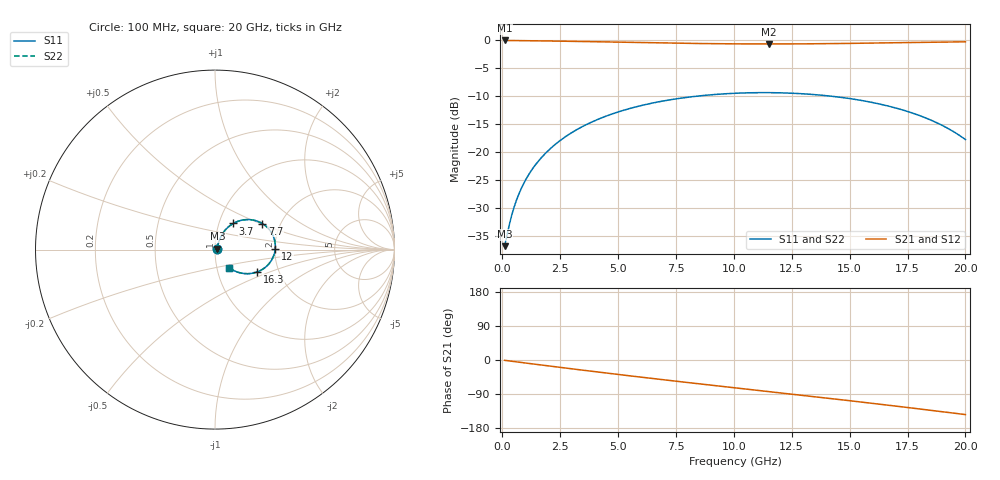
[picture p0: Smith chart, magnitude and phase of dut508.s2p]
! Touchstone file exported from HFSS 2026.1.0
!  File:  C:/ffzhzh/LocalFiles/Ansys_Project_Files/temp_train_TSV_RDL_508_1783108310_37876.aedt
!  Generated:  04:03:06 AM Jul  4, 2026
!  Design:  TSV_RDL
!  Project:  temp_train_TSV_RDL_508_1783108310_37876
! Variables:
!  h_bsmrdl = 4.68um
!  h_ox = 20um
!  h_rdl = 5um
!  h_sub = 85.01um
!  h_tmrdl = 2.06um
!  h_tsv = 85.01um
!  h_via = 3um
!  l_bsmrdl = 185.45um
!  l_sub = 2208.39um
!  l_tmrdl = 282.89um
!  m_sub = 200um
!  pitch = 39.65um
!  r_tsv = 10.62um
!  s_tmrdl = 10um
!  w_bsmrdl = 19.2um
!  w_sub = 500um
!  w_tmrdl = 20.96um
!  x_tsv_center1 = 293.37um
!  x_tsv_center2 = 498.02um
!  x_tsv_center3 = 801.87um
!  x_tsv_center4 = 1006.52um
!  x_tsv_center5 = 1310.37um
!  x_tsv_center6 = 1515.02um
# GHz S MA R 50.000000
! Terminal data exported
! Port[1] = TM_RDL1_1_T1
! Port[2] = TM_RDL5_1_T1
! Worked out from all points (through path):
!   200 points, 100 MHz to 20 GHz, reference 50 ohm
!   highest |S21| = -0.11 dB at 100 MHz (marker M1); lowest = -0.7 dB at 11.5 GHz (marker M2)
!   group delay of S21, straight-line fit = 19.6 ps
!   lowest |S11| = -36.9 dB at 100 MHz (marker M3), VSWR 1.03, Z = 51.3 + j0.587 ohm
!   |S11| at or under -10 dB: start of sweep to 8.577 GHz; 14.02 GHz to end of sweep
!   |S22| runs from -36.9 to -9.4 dB; largest |S21 - S12| = 6.8e-13
!   S11 on the Smith chart (normalised r, x): 100 MHz: 1.03, +0.01; 3.7 GHz: 1.17, +0.35; 7.7 GHz: 1.61, +0.52; 12 GHz: 2.01, +0.02; 16.3 GHz: 1.55, -0.41; 20 GHz: 1.15, -0.24
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0.1  0.01429 23.6  0.987 -0.8  0.987 -0.8  0.01429 23.6
! Gamma 0 0 0 0
! Port Impedance 50 0 50 0
0.4  0.02669 54.3  0.9854 -3.3  0.9854 -3.3  0.02669 54.3
0.6  0.03623 60.5  0.9843 -4.8  0.9843 -4.8  0.03623 60.5
0.9  0.05071 64.3  0.9827 -7.2  0.9827 -7.2  0.05071 64.3
1.2  0.06516 65.5  0.9811 -9.5  0.9811 -9.5  0.06516 65.5
1.7  0.08894 65.1  0.9784 -13.4  0.9784 -13.4  0.08894 65.1
2.2  0.1122 63.3  0.9753 -17.2  0.9753 -17.2  0.1122 63.3
3.5  0.1692 56.3  0.9657 -27.0  0.9657 -27.0  0.1692 56.3
3.7  0.1774 55.1  0.9641 -28.5  0.9641 -28.5  0.1774 55.1
5.1  0.2298 46.1  0.9522 -38.8  0.9522 -38.8  0.2298 46.1
6.8  0.2802 34.8  0.938 -51.0  0.938 -51.0  0.2802 34.8
7.7  0.3007 28.9  0.9315 -57.3  0.9315 -57.3  0.3007 28.9
10.1  0.3331 13.2  0.9201 -73.8  0.9201 -73.8  0.3331 13.2
11.5  0.337 4.0  0.9182 -83.3  0.9182 -83.3  0.3371 4.0
12  0.3358 0.8  0.9184 -86.7  0.9184 -86.7  0.3358 0.8
13.4  0.3247 -8.4  0.9216 -96.3  0.9216 -96.3  0.3247 -8.4
14.9  0.3005 -18.4  0.9284 -106.7  0.9284 -106.7  0.3006 -18.4
16.3  0.2665 -27.8  0.937 -116.6  0.937 -116.6  0.2665 -27.8
16.7  0.2548 -30.5  0.9397 -119.5  0.9397 -119.5  0.2548 -30.5
18.5  0.1919 -42.6  0.9517 -132.7  0.9517 -132.7  0.1919 -42.6
19.3  0.1591 -47.8  0.9563 -138.7  0.9563 -138.7  0.1591 -47.8
20  0.1283 -52.1  0.9597 -144.0  0.9597 -144.0  0.1283 -52.1
